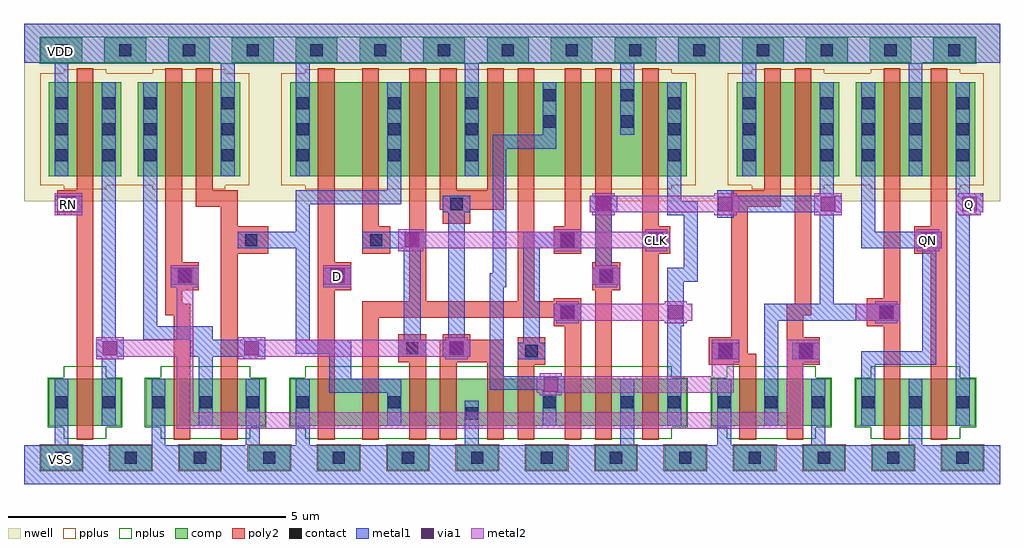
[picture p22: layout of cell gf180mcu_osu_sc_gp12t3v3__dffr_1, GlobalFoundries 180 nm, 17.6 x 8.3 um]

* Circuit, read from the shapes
.subckt gf180mcu_osu_sc_gp12t3v3__dffr_1 CLK D Q QN RN VDD VSS
XM1 n1 RN VSS VSS nfet_03v3 w=0.85u l=0.3u
XM2 n2 n1 VSS VSS nfet_03v3 w=0.85u l=0.3u
XM3 VSS n3 n2 VSS nfet_03v3 w=0.85u l=0.3u
XM4 n4 D VSS VSS nfet_03v3 w=0.85u l=0.3u
XM5 n3 n5 n4 VSS nfet_03v3 w=0.85u l=0.3u
XM6 n6 CLK n3 VSS nfet_03v3 w=0.85u l=0.3u
XM7 VSS n2 n6 VSS nfet_03v3 w=0.85u l=0.3u
XM8 n7 n2 VSS VSS nfet_03v3 w=0.85u l=0.3u
XM9 n8 CLK n7 VSS nfet_03v3 w=0.85u l=0.3u
XM10 n9 n5 n8 VSS nfet_03v3 w=0.85u l=0.3u
XM11 VSS n10 n9 VSS nfet_03v3 w=0.85u l=0.3u
XM12 n5 CLK VSS VSS nfet_03v3 w=0.85u l=0.3u
XM13 n10 n8 VSS VSS nfet_03v3 w=0.85u l=0.3u
XM14 VSS n1 n10 VSS nfet_03v3 w=0.85u l=0.3u
XM15 VSS n10 QN VSS nfet_03v3 w=0.85u l=0.3u
XM16 Q QN VSS VSS nfet_03v3 w=0.85u l=0.3u
XM17 n1 RN VDD VDD pfet_03v3 w=1.7u l=0.3u
XM18 n11 n1 n2 VDD pfet_03v3 w=1.7u l=0.3u
XM19 VDD n3 n11 VDD pfet_03v3 w=1.7u l=0.3u
XM20 n12 D VDD VDD pfet_03v3 w=1.7u l=0.3u
XM21 n3 CLK n12 VDD pfet_03v3 w=1.7u l=0.3u
XM22 n13 n5 n3 VDD pfet_03v3 w=1.7u l=0.3u
XM23 VDD n2 n13 VDD pfet_03v3 w=1.7u l=0.3u
XM24 n14 n2 VDD VDD pfet_03v3 w=1.7u l=0.3u
XM25 n8 n5 n14 VDD pfet_03v3 w=1.7u l=0.3u
XM26 n15 CLK n8 VDD pfet_03v3 w=1.7u l=0.3u
XM27 VDD n10 n15 VDD pfet_03v3 w=1.7u l=0.3u
XM28 n5 CLK VDD VDD pfet_03v3 w=1.7u l=0.3u
XM29 n16 n8 VDD VDD pfet_03v3 w=1.7u l=0.3u
XM30 n10 n1 n16 VDD pfet_03v3 w=1.7u l=0.3u
XM31 VDD n10 QN VDD pfet_03v3 w=1.7u l=0.3u
XM32 Q QN VDD VDD pfet_03v3 w=1.7u l=0.3u
.ends

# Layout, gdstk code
import gdstk
lib = gdstk.Library(unit=1e-6, precision=1e-09)
def R(c, l, rs):  # rectangles x0, y0, x1, y1
    for r in rs: c.add(gdstk.rectangle(r[:2], r[2:], *l))
def A(c, l, x, y, w, h, nx, ny, dx, dy):  # array of equal rectangles
    R(c, l, [(x+i*dx, y+j*dy, x+i*dx+w, y+j*dy+h) for i in range(nx) for j in range(ny)])
nwell = (21, 0)
comp = (22, 0)
poly2 = (30, 0)
pplus = (31, 0)
nplus = (32, 0)
contact = (33, 0)
metal1 = (34, 0)
via1 = (35, 0)
metal2 = (36, 0)

gf180mcu_osu_sc_gp12t3v3 = lib.new_cell('gf180mcu_osu_sc_gp12t3v3__dffr_1')
R(gf180mcu_osu_sc_gp12t3v3, nwell, [(0,5.1,17.6,8.3)])
A(gf180mcu_osu_sc_gp12t3v3, comp, 0.3, 0.25, 0.75, 0.45, 14, 1, 1.25, 0)
A(gf180mcu_osu_sc_gp12t3v3, comp, 0.3, 7.6, 0.75, 0.45, 15, 1, 1.15, 0)
R(gf180mcu_osu_sc_gp12t3v3, comp, [(0.45,1.05,1.75,1.9), (2.2,1.05,4.35,1.9), (4.8,1.05,11.95,1.9), (12.4,1.05,14.55,1.9), (15,1.05,17.15,1.9), (0.45,5.55,1.75,7.25), (2.05,5.55,3.9,7.25), (4.8,5.55,11.95,7.25), (12.85,5.55,14.7,7.25), (15,5.55,17.15,7.25)])
R(gf180mcu_osu_sc_gp12t3v3, poly2, [(0.95,0.8,1.25,4.85), (2.7,0.8,3,3.05), (3.55,0.8,3.85,4.15), (5.3,0.8,5.6,3.5), (6.1,0.8,6.4,3), (6.95,0.8,7.25,2.2), (7.5,0.8,7.8,2.2), (8.35,0.8,8.65,2.2), (8.9,0.8,9.2,2.15), (9.75,0.8,10.05,2.85), (10.3,0.8,10.6,3.5), (11.15,0.8,11.45,4.15), (12.9,0.8,13.2,2.15), (13.75,0.8,14.05,2.15), (15.5,0.8,15.8,2.85), (16.35,0.8,16.65,4.15), (8.9,2.15,9.4,2.65), (12.35,2.15,13.2,2.35), (13.75,2.15,14.35,2.65), (6.75,2.2,7.25,2.7), (7.5,2.2,8.65,2.6), (12.35,2.35,13.05,2.65), (7.55,2.6,8.05,2.7), (12.75,2.65,13.05,5), (13.75,2.65,14.05,3.05), (9.55,2.85,10.05,3), (15.2,2.85,15.8,3.35), (6.1,3,10.05,3.3), (2.55,3.05,3,3.25), (13.75,3.05,14.2,3.25), (2.55,3.25,2.85,3.5), (13.9,3.25,14.2,7.5), (6.95,3.3,7.25,7.5), (8.9,3.3,9.2,7.5), (9.55,3.3,10.05,3.35), (15.5,3.35,15.8,7.5), (2.55,3.5,3.15,4), (5.3,3.5,5.9,4), (10.25,3.5,10.75,4), (2.55,4,2.85,7.5), (5.3,4,5.6,7.5), (10.3,4,10.6,7.5), (3.55,4.15,4.4,4.65), (6.1,4.15,6.6,4.65), (9.55,4.15,10.05,4.65), (11.15,4.15,11.65,4.65), (16.05,4.15,16.65,4.65), (3.55,4.65,3.85,5), (6.1,4.65,6.4,7.5), (9.75,4.65,10.05,7.5), (11.15,4.65,11.45,7.5), (16.35,4.65,16.65,7.5), (7.55,4.7,8.05,4.95), (0.6,4.85,1.25,5.3), (7.5,4.95,8.65,5.3), (3.1,5,3.85,5.3), (12.75,5,13.65,5.3), (0.95,5.3,1.25,7.5), (3.1,5.3,3.4,7.5), (7.5,5.3,7.8,7.5), (8.35,5.3,8.65,7.5), (13.35,5.3,13.65,7.5)])
A(gf180mcu_osu_sc_gp12t3v3, pplus, 0.28, 0.23, 0.79, 0.49, 14, 1, 1.25, 0)
R(gf180mcu_osu_sc_gp12t3v3, pplus, [(0.72,5.32,1.48,5.39), (2.32,5.32,3.63,5.39), (5.07,5.32,11.68,5.39), (13.12,5.32,14.43,5.39), (15.27,5.32,16.88,5.39), (0.29,5.39,4.06,7.41), (4.64,5.39,12.11,7.41), (12.69,5.39,17.31,7.41), (0.72,7.41,1.48,7.48), (2.32,7.41,3.63,7.48), (5.07,7.41,11.68,7.48), (13.12,7.41,14.43,7.48), (15.27,7.41,16.88,7.48)])
R(gf180mcu_osu_sc_gp12t3v3, nplus, [(0.72,0.82,1.48,1.03), (2.47,0.82,4.08,1.03), (5.07,0.82,11.68,1.03), (12.67,0.82,14.28,1.03), (15.27,0.82,16.88,1.03), (0.43,1.03,1.77,1.92), (2.18,1.03,4.37,1.92), (4.78,1.03,11.97,1.92), (12.38,1.03,14.57,1.92), (14.98,1.03,17.17,1.92), (0.72,1.92,1.48,2.13), (2.47,1.92,4.08,2.13), (5.07,1.92,11.68,2.13), (12.67,1.92,14.28,2.13), (15.27,1.92,16.88,2.13), (0.28,7.58,17.17,8.07)])
A(gf180mcu_osu_sc_gp12t3v3, contact, 0.565, 0.365, 0.22, 0.22, 14, 1, 1.25, 0)
A(gf180mcu_osu_sc_gp12t3v3, contact, 2.315, 1.365, 0.22, 0.22, 3, 1, 0.85, 0)
A(gf180mcu_osu_sc_gp12t3v3, contact, 12.515, 1.365, 0.22, 0.22, 3, 1, 0.85, 0)
A(gf180mcu_osu_sc_gp12t3v3, contact, 15.115, 1.365, 0.22, 0.22, 3, 2, 0.85, 4.455)
A(gf180mcu_osu_sc_gp12t3v3, contact, 0.565, 5.82, 0.22, 0.22, 1, 3, 0, 0.47)
A(gf180mcu_osu_sc_gp12t3v3, contact, 1.415, 5.82, 0.22, 0.22, 1, 3, 0, 0.47)
A(gf180mcu_osu_sc_gp12t3v3, contact, 2.165, 5.82, 0.22, 0.22, 1, 3, 0, 0.47)
A(gf180mcu_osu_sc_gp12t3v3, contact, 3.565, 5.82, 0.22, 0.22, 1, 3, 0, 0.47)
A(gf180mcu_osu_sc_gp12t3v3, contact, 4.915, 5.82, 0.22, 0.22, 1, 3, 0, 0.47)
A(gf180mcu_osu_sc_gp12t3v3, contact, 6.565, 5.82, 0.22, 0.22, 1, 3, 0, 0.47)
A(gf180mcu_osu_sc_gp12t3v3, contact, 7.965, 5.82, 0.22, 0.22, 1, 3, 0, 0.47)
A(gf180mcu_osu_sc_gp12t3v3, contact, 11.615, 5.82, 0.22, 0.22, 1, 3, 0, 0.47)
A(gf180mcu_osu_sc_gp12t3v3, contact, 12.965, 5.82, 0.22, 0.22, 1, 3, 0, 0.47)
A(gf180mcu_osu_sc_gp12t3v3, contact, 14.365, 5.82, 0.22, 0.22, 1, 3, 0, 0.47)
A(gf180mcu_osu_sc_gp12t3v3, contact, 15.115, 6.29, 0.22, 0.22, 3, 2, 0.85, 0.47)
A(gf180mcu_osu_sc_gp12t3v3, contact, 0.565, 7.715, 0.22, 0.22, 15, 1, 1.15, 0)
R(gf180mcu_osu_sc_gp12t3v3, contact, [(7.965,1.165,8.185,1.385), (0.565,1.365,0.785,1.585), (1.415,1.365,1.635,1.585), (4.915,1.365,5.135,1.585), (6.565,1.365,6.785,1.585), (9.365,1.365,9.585,1.585), (10.765,1.365,10.985,1.585), (11.615,1.365,11.835,1.585), (9.04,2.29,9.26,2.51), (12.54,2.29,12.76,2.51), (13.99,2.29,14.21,2.51), (6.89,2.34,7.11,2.56), (7.69,2.34,7.91,2.56), (9.69,2.99,9.91,3.21), (15.44,2.99,15.66,3.21), (2.79,3.64,3.01,3.86), (5.54,3.64,5.76,3.86), (10.39,3.64,10.61,3.86), (3.99,4.29,4.21,4.51), (6.24,4.29,6.46,4.51), (9.69,4.29,9.91,4.51), (11.29,4.29,11.51,4.51), (16.19,4.29,16.41,4.51), (7.69,4.94,7.91,5.16), (0.715,4.965,0.935,5.185), (9.365,6.43,9.585,6.65), (10.765,6.43,10.985,6.65), (9.365,6.9,9.585,7.12), (10.765,6.9,10.985,7.12)])
R(gf180mcu_osu_sc_gp12t3v3, metal1, [(0,0,17.6,0.7), (0.55,0.7,0.8,1.9), (2.3,0.7,2.55,1.9), (4,0.7,4.25,1.9), (4.9,0.7,5.15,1.9), (7.95,0.7,8.2,1.5), (10.75,0.7,11,1.9), (12.5,0.7,12.75,1.9), (14.2,0.7,14.45,1.9), (15.95,0.7,16.2,1.9), (1.4,1.05,1.65,2.25), (3.15,1.05,3.4,2.3), (6.55,1.05,6.8,1.65), (9.35,1.05,9.6,1.65), (11.6,1.05,11.85,2.85), (13.35,1.05,13.6,2.95), (15.1,1.05,15.35,2.15), (16.8,1.05,17.05,4.85), (5.5,1.65,6.8,1.9), (9.35,1.65,9.75,1.7), (8.4,1.7,9.75,1.95), (5.5,1.9,5.9,2.35), (8.4,1.95,8.65,3.55), (15.1,2.15,16.45,2.4), (1.4,2.25,1.7,2.3), (3.95,2.25,4.2,2.3), (8.9,2.25,9.4,2.55), (12.4,2.25,12.9,2.55), (13.85,2.25,14.35,2.55), (1.3,2.3,1.8,2.6), (3,2.3,4.35,2.6), (6.75,2.3,7.25,2.6), (7.55,2.3,8.05,2.6), (4.9,2.35,5.9,2.6), (16.2,2.4,16.45,4.25), (9,2.55,9.3,4.25), (1.4,2.6,1.65,7.25), (2.15,2.6,3.4,2.85), (3.95,2.6,4.2,2.65), (4.9,2.6,5.15,4.25), (6.85,2.6,7.15,4.25), (7.65,2.6,7.95,4.9), (2.15,2.85,2.4,7.25), (11.6,2.85,11.9,3.65), (9.55,2.95,10.05,3.25), (13.35,2.95,15.8,3.25), (14.35,3.25,14.6,4.9), (8.4,3.55,8.7,3.8), (2.65,3.6,3.15,3.9), (5.4,3.6,5.9,3.9), (10.25,3.6,10.75,3.9), (11.6,3.65,12.15,3.9), (8.45,3.8,8.7,6.05), (10.3,3.9,10.6,4.9), (11.9,3.9,12.15,4.85), (3.85,4.25,5.15,4.55), (6.1,4.25,7.25,4.55), (9,4.25,10.05,4.55), (11.15,4.25,11.65,4.55), (15.1,4.25,16.55,4.55), (4.9,4.55,5.15,5.05), (15.1,4.55,15.35,7.25), (12.5,4.8,12.8,4.9), (11.6,4.85,12.15,5.1), (16.8,4.85,17.25,4.9), (0.55,4.9,1.05,5.2), (7.55,4.9,8.05,5.2), (10.2,4.9,10.7,5.2), (12.5,4.9,14.75,5.2), (16.8,4.9,17.3,5.25), (4.9,5.05,6.8,5.3), (11.6,5.1,11.85,7.25), (12.5,5.2,12.8,5.3), (14.35,5.2,14.6,7.25), (16.8,5.25,17.05,7.25), (6.55,5.3,6.8,7.25), (0.55,5.55,0.8,7.6), (3.55,5.55,3.8,7.6), (4.9,5.55,5.15,7.6), (7.95,5.55,8.2,7.6), (12.95,5.55,13.2,7.6), (15.95,5.55,16.2,7.6), (8.45,6.05,9.6,6.3), (9.35,6.3,9.6,7.25), (10.75,6.3,11,7.6), (0,7.6,17.6,8.3)])
R(gf180mcu_osu_sc_gp12t3v3, via1, [(9.37,1.67,9.63,1.93), (12.52,2.27,12.78,2.53), (13.97,2.27,14.23,2.53), (1.42,2.32,1.68,2.58), (3.97,2.32,4.23,2.58), (7.67,2.32,7.93,2.58), (9.67,2.97,9.93,3.23), (11.62,2.97,11.88,3.23), (15.42,2.97,15.68,3.23), (2.77,3.62,3.03,3.88), (5.52,3.62,5.78,3.88), (10.37,3.62,10.63,3.88), (6.87,4.27,7.13,4.53), (9.67,4.27,9.93,4.53), (11.27,4.27,11.53,4.53), (16.17,4.27,16.43,4.53), (0.67,4.92,0.93,5.18), (10.32,4.92,10.58,5.18), (12.52,4.92,12.78,5.18), (14.37,4.92,14.63,5.18), (16.92,4.92,17.18,5.18)])
R(gf180mcu_osu_sc_gp12t3v3, metal2, [(2.75,1,14.05,1.3), (2.75,1.3,3.05,2.3), (13.75,1.3,14.05,2.2), (9.3,1.6,9.7,1.65), (9.25,1.65,12.8,1.95), (9.3,1.95,9.7,2), (12.4,1.95,12.8,2.2), (12.4,2.2,12.9,2.6), (13.75,2.2,14.35,2.6), (1.3,2.25,1.8,2.3), (3.85,2.25,4.35,2.3), (7.6,2.25,8,2.3), (1.3,2.3,3.05,2.6), (3.85,2.3,8.05,2.6), (1.3,2.6,1.8,2.65), (2.75,2.6,3.05,3.55), (3.85,2.6,4.35,2.65), (7.6,2.6,8,2.65), (9.6,2.9,10,2.95), (11.55,2.9,11.95,2.95), (15.35,2.9,15.75,2.95), (9.55,2.95,12.05,3.25), (15,2.95,15.8,3.25), (9.6,3.25,10,3.3), (11.55,3.25,11.95,3.3), (15.35,3.25,15.75,3.3), (2.65,3.55,3.15,3.95), (5.4,3.55,5.9,3.95), (10.3,3.55,10.7,3.6), (10.25,3.6,10.75,3.9), (10.3,3.9,10.7,3.95), (6.75,4.2,7.2,4.25), (9.55,4.2,10.05,4.25), (11.2,4.2,11.6,4.25), (16.1,4.2,16.5,4.25), (6.75,4.25,11.65,4.55), (16.05,4.25,16.55,4.55), (6.75,4.55,7.2,4.6), (9.55,4.55,10.05,4.6), (11.2,4.55,11.6,4.6), (16.1,4.55,16.5,4.6), (0.55,4.85,1.05,5.25), (10.25,4.85,10.65,4.9), (12.45,4.85,12.85,4.9), (14.25,4.85,14.75,5.25), (16.85,4.85,17.25,4.9), (10.2,4.9,12.9,5.2), (16.8,4.9,17.3,5.2), (10.25,5.2,10.65,5.25), (12.45,5.2,12.85,5.25), (16.85,5.2,17.25,5.25)])
gf180mcu_osu_sc_gp12t3v3.add(gdstk.Label('D', (5.65,3.75), layer=36, texttype=10))
gf180mcu_osu_sc_gp12t3v3.add(gdstk.Label('Q', (17.05,5.05), layer=36, texttype=10))
gf180mcu_osu_sc_gp12t3v3.add(gdstk.Label('QN', (16.3,4.4), layer=36, texttype=10))
gf180mcu_osu_sc_gp12t3v3.add(gdstk.Label('CLK', (11.4,4.4), layer=36, texttype=10))
gf180mcu_osu_sc_gp12t3v3.add(gdstk.Label('RN', (0.8,5.05), layer=36, texttype=10))
gf180mcu_osu_sc_gp12t3v3.add(gdstk.Label('VDD', (0.65,7.8), layer=34, texttype=10))
gf180mcu_osu_sc_gp12t3v3.add(gdstk.Label('VSS', (0.65,0.45), layer=34, texttype=10))

lib.write_gds('gf180mcu_osu_sc_gp12t3v3__dffr_1.gds')
